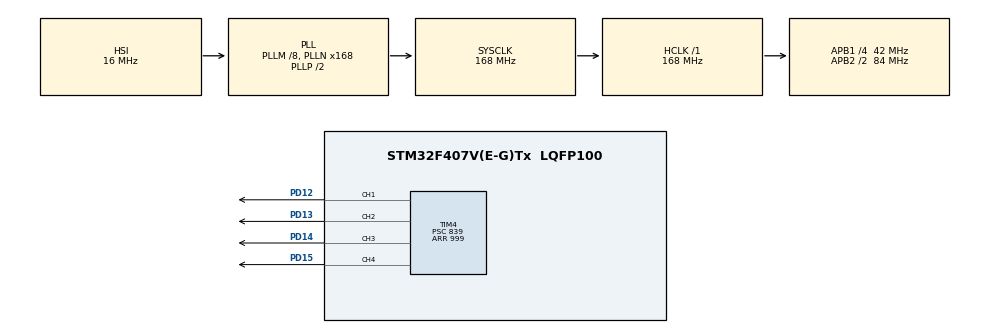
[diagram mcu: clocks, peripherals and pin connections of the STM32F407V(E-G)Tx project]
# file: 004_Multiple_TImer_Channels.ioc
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Mcu.Family=STM32F4
Mcu.Name=STM32F407V(E-G)Tx
Mcu.Package=LQFP100
NVIC.PriorityGroup=NVIC_PRIORITYGROUP_4
NVIC.TIM4_IRQn=true\:0\:0\:false\:false\:true\:true\:true\:true
PA13.Mode=Trace_Asynchronous_SW
PA13.Signal=SYS_JTMS-SWDIO
PA14.Mode=Trace_Asynchronous_SW
PA14.Signal=SYS_JTCK-SWCLK
PB3.Mode=Trace_Asynchronous_SW
PB3.Signal=SYS_JTDO-SWO
PD12.Signal=S_TIM4_CH1
PD13.Signal=S_TIM4_CH2
PD14.Signal=S_TIM4_CH3
PD15.Signal=S_TIM4_CH4
PH0-OSC_IN.Mode=HSE-External-Oscillator
PH0-OSC_IN.Signal=RCC_OSC_IN
PH1-OSC_OUT.Mode=HSE-External-Oscillator
PH1-OSC_OUT.Signal=RCC_OSC_OUT
ProjectManager.HeapSize=0x200
ProjectManager.StackSize=0x400
ProjectManager.TargetToolchain=STM32CubeIDE
RCC.48MHZClocksFreq_Value=84000000
RCC.AHBFreq_Value=168000000
RCC.APB1CLKDivider=RCC_HCLK_DIV4
RCC.APB1Freq_Value=42000000
RCC.APB1TimFreq_Value=84000000
RCC.APB2CLKDivider=RCC_HCLK_DIV2
RCC.APB2Freq_Value=84000000
RCC.APB2TimFreq_Value=168000000
RCC.CortexFreq_Value=168000000
RCC.HCLKFreq_Value=168000000
RCC.HSE_VALUE=8000000
RCC.HSI_VALUE=16000000
RCC.LSE_VALUE=32768
RCC.PLLM=8
RCC.PLLN=168
RCC.SYSCLKFreq_VALUE=168000000
RCC.SYSCLKSource=RCC_SYSCLKSOURCE_PLLCLK
RCC.VCOOutputFreq_Value=336000000
SH.S_TIM4_CH1.0=TIM4_CH1,PWM Generation1 CH1
SH.S_TIM4_CH2.0=TIM4_CH2,PWM Generation2 CH2
SH.S_TIM4_CH3.0=TIM4_CH3,PWM Generation3 CH3
SH.S_TIM4_CH4.0=TIM4_CH4,PWM Generation4 CH4
TIM4.Channel-PWM\ Generation1\ CH1=TIM_CHANNEL_1
TIM4.Channel-PWM\ Generation2\ CH2=TIM_CHANNEL_2
TIM4.Channel-PWM\ Generation3\ CH3=TIM_CHANNEL_3
TIM4.Channel-PWM\ Generation4\ CH4=TIM_CHANNEL_4
TIM4.OCPolarity_1=TIM_OCPOLARITY_LOW
TIM4.OCPolarity_2=TIM_OCPOLARITY_LOW
TIM4.OCPolarity_3=TIM_OCPOLARITY_LOW
TIM4.OCPolarity_4=TIM_OCPOLARITY_LOW
TIM4.Period=999
TIM4.Prescaler=839
VP_TIM4_VS_ClockSourceINT.Mode=Internal
board=custom

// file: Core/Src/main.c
/* USER CODE BEGIN Header */
/**
  ******************************************************************************
  * @file           : main.c
  * @brief          : Main program body
  ******************************************************************************
  * @attention
  *
  * Copyright (c) 2025 STMicroelectronics.
  * All rights reserved.
  *
  * This software is licensed under terms that can be found in the LICENSE file
  * in the root directory of this software component.
  * If no LICENSE file comes with this software, it is provided AS-IS.
  *
  ******************************************************************************
  */
/* USER CODE END Header */
#include "main.h"

/* USER CODE BEGIN Includes */

#include "stdio.h"

/* USER CODE END Includes */

TIM_HandleTypeDef htim4;

void SystemClock_Config(void);
static void MX_GPIO_Init(void);
static void MX_TIM4_Init(void);

/* USER CODE BEGIN 0 */

// Debug Printf
int _write(int file, char *ptr, int len) {
  for (int i = 0; i < len; i++) {
    ITM_SendChar(*ptr++);
  }
  return len;
}

/* USER CODE END 0 */

int main(void)
{

  /* MCU Configuration--------------------------------------------------------*/

  /* Reset of all peripherals, Initializes the Flash interface and the Systick. */
  HAL_Init();

  /* Configure the system clock */
  SystemClock_Config();

  /* Initialize all configured peripherals */
  MX_GPIO_Init();
  MX_TIM4_Init();
  /* USER CODE BEGIN 2 */

  printf("\n\n\n\n..........\nStarting PWM\n");

  printf("Starting timer channel\n");
  HAL_TIM_PWM_Start(&htim4, TIM_CHANNEL_1);
  HAL_TIM_PWM_Start(&htim4, TIM_CHANNEL_2);
  HAL_TIM_PWM_Start(&htim4, TIM_CHANNEL_3);
  HAL_TIM_PWM_Start(&htim4, TIM_CHANNEL_4);

  /* USER CODE END 2 */

  /* Infinite loop */
  /* USER CODE BEGIN WHILE */

  uint16_t pwm_value = 0;
  // Gunakan int16_t agar -1 dan 1 valid, meskipun int8_t juga bisa
  int16_t pwm_change = 1;

  uint32_t now = 0, loop_cnt = 0;
  uint32_t next_tick = 1000;
  uint32_t next_change = 0;

  // Untuk logging, jika diperlukan (lihat catatan di bawah)
#define DEBUG_LOGGING 0 // Set ke 1 untuk aktifkan log, 0 untuk performa maks

  while (1)
  {
    now = uwTick;  // OPTIMASI: Akses langsung, hindari function call

    // Update PWM setiap 2 ms
    if (now >= next_change) {

      // OPTIMASI: __HAL_TIM_SET_COMPARE sudah merupakan makro
      // yang di-compile menjadi akses register langsung (mis: TIM4->CCR1 = val).
      // Ini sudah maksimal, tidak bisa lebih cepat.
      __HAL_TIM_SET_COMPARE(&htim4, TIM_CHANNEL_1, pwm_value);
      __HAL_TIM_SET_COMPARE(&htim4, TIM_CHANNEL_2, 999 - pwm_value);
      __HAL_TIM_SET_COMPARE(&htim4, TIM_CHANNEL_3, pwm_value);
      __HAL_TIM_SET_COMPARE(&htim4, TIM_CHANNEL_4, 999 - pwm_value);

      // Logika ini sudah sangat cepat (1 add, 2 compare, 1 branch)
      pwm_value += pwm_change;
      if (pwm_value == 0) {
        pwm_change = 1;
      } else if (pwm_value == 999) {
        pwm_change = -1;
      }
      next_change = now + 2;
    }

#if DEBUG_LOGGING
    // Log setiap 1 detik
    if (now >= next_tick) {
      // PERINGATAN: printf sangat lambat dan akan menghancurkan performa.
      // Hanya gunakan untuk debug, jangan pernah di build rilis.
      printf("Tick %lu (loop %lu)\n",
             (unsigned long)(now / 1000),
             (unsigned long)loop_cnt);

      loop_cnt = 0;
      next_tick = now + 1000;
    }
    ++loop_cnt;
#endif

    /* USER CODE END WHILE */

  }
}

void SystemClock_Config(void)
{
  RCC_OscInitTypeDef RCC_OscInitStruct = {0};
  RCC_ClkInitTypeDef RCC_ClkInitStruct = {0};

  /** Configure the main internal regulator output voltage
  */
  __HAL_RCC_PWR_CLK_ENABLE();
  __HAL_PWR_VOLTAGESCALING_CONFIG(PWR_REGULATOR_VOLTAGE_SCALE1);

  /** Initializes the RCC Oscillators according to the specified parameters
  * in the RCC_OscInitTypeDef structure.
  */
  RCC_OscInitStruct.OscillatorType = RCC_OSCILLATORTYPE_HSI;
  RCC_OscInitStruct.HSIState = RCC_HSI_ON;
  RCC_OscInitStruct.HSICalibrationValue = RCC_HSICALIBRATION_DEFAULT;
  RCC_OscInitStruct.PLL.PLLState = RCC_PLL_ON;
  RCC_OscInitStruct.PLL.PLLSource = RCC_PLLSOURCE_HSI;
  RCC_OscInitStruct.PLL.PLLM = 8;
  RCC_OscInitStruct.PLL.PLLN = 168;
  RCC_OscInitStruct.PLL.PLLP = RCC_PLLP_DIV2;
  RCC_OscInitStruct.PLL.PLLQ = 4;
  if (HAL_RCC_OscConfig(&RCC_OscInitStruct) != HAL_OK)
  {
    Error_Handler();
  }

  /** Initializes the CPU, AHB and APB buses clocks
  */
  RCC_ClkInitStruct.ClockType = RCC_CLOCKTYPE_HCLK|RCC_CLOCKTYPE_SYSCLK
                              |RCC_CLOCKTYPE_PCLK1|RCC_CLOCKTYPE_PCLK2;
  RCC_ClkInitStruct.SYSCLKSource = RCC_SYSCLKSOURCE_PLLCLK;
  RCC_ClkInitStruct.AHBCLKDivider = RCC_SYSCLK_DIV1;
  RCC_ClkInitStruct.APB1CLKDivider = RCC_HCLK_DIV4;
  RCC_ClkInitStruct.APB2CLKDivider = RCC_HCLK_DIV2;

  if (HAL_RCC_ClockConfig(&RCC_ClkInitStruct, FLASH_LATENCY_5) != HAL_OK)
  {
    Error_Handler();
  }
}

static void MX_TIM4_Init(void)
{

  TIM_ClockConfigTypeDef sClockSourceConfig = {0};
  TIM_MasterConfigTypeDef sMasterConfig = {0};
  TIM_OC_InitTypeDef sConfigOC = {0};

  htim4.Instance = TIM4;
  htim4.Init.Prescaler = 839;
  htim4.Init.CounterMode = TIM_COUNTERMODE_UP;
  htim4.Init.Period = 999;
  htim4.Init.ClockDivision = TIM_CLOCKDIVISION_DIV1;
  htim4.Init.AutoReloadPreload = TIM_AUTORELOAD_PRELOAD_DISABLE;
  if (HAL_TIM_Base_Init(&htim4) != HAL_OK)
  {
    Error_Handler();
  }
  sClockSourceConfig.ClockSource = TIM_CLOCKSOURCE_INTERNAL;
  if (HAL_TIM_ConfigClockSource(&htim4, &sClockSourceConfig) != HAL_OK)
  {
    Error_Handler();
  }
  if (HAL_TIM_PWM_Init(&htim4) != HAL_OK)
  {
    Error_Handler();
  }
  sMasterConfig.MasterOutputTrigger = TIM_TRGO_RESET;
  sMasterConfig.MasterSlaveMode = TIM_MASTERSLAVEMODE_DISABLE;
  if (HAL_TIMEx_MasterConfigSynchronization(&htim4, &sMasterConfig) != HAL_OK)
  {
    Error_Handler();
  }
  sConfigOC.OCMode = TIM_OCMODE_PWM1;
  sConfigOC.Pulse = 0;
  sConfigOC.OCPolarity = TIM_OCPOLARITY_LOW;
  sConfigOC.OCFastMode = TIM_OCFAST_DISABLE;
  if (HAL_TIM_PWM_ConfigChannel(&htim4, &sConfigOC, TIM_CHANNEL_1) != HAL_OK)
  {
    Error_Handler();
  }
  if (HAL_TIM_PWM_ConfigChannel(&htim4, &sConfigOC, TIM_CHANNEL_2) != HAL_OK)
  {
    Error_Handler();
  }
  if (HAL_TIM_PWM_ConfigChannel(&htim4, &sConfigOC, TIM_CHANNEL_3) != HAL_OK)
  {
    Error_Handler();
  }
  if (HAL_TIM_PWM_ConfigChannel(&htim4, &sConfigOC, TIM_CHANNEL_4) != HAL_OK)
  {
    Error_Handler();
  }
  HAL_TIM_MspPostInit(&htim4);

}

static void MX_GPIO_Init(void)
{

  /* GPIO Ports Clock Enable */
  __HAL_RCC_GPIOH_CLK_ENABLE();
  __HAL_RCC_GPIOD_CLK_ENABLE();
  __HAL_RCC_GPIOA_CLK_ENABLE();
  __HAL_RCC_GPIOB_CLK_ENABLE();

}

void Error_Handler(void)
{
  __disable_irq();
  while (1)
  {
  }
}
